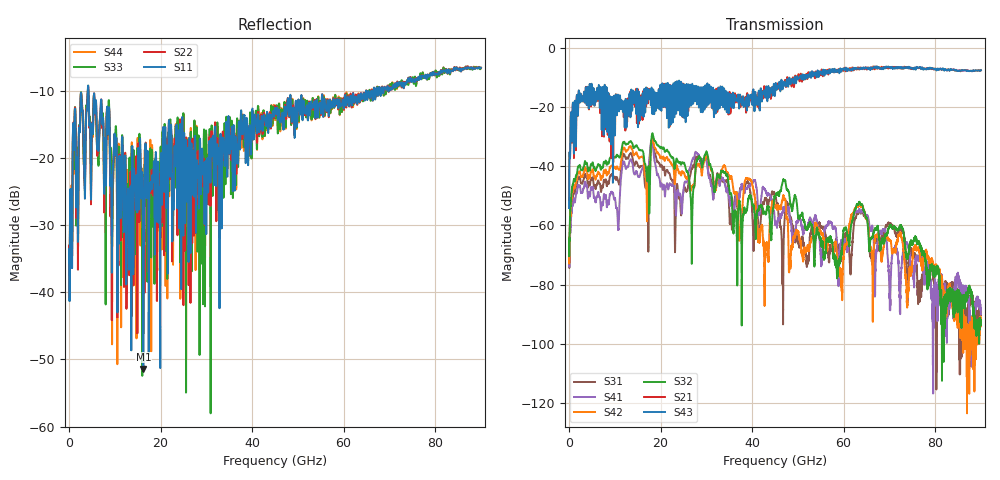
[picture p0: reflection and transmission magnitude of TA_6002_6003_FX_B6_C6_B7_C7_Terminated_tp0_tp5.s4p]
!Touchstone File created by Channel Assembly Engine (Version 2.0.0_Beta1)
!Current time:  2022 6/29 11:28:37
# Hz S RI R 50
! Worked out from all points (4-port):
!   9000 points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, 10 MHz to 90 GHz, reference 50 ohm
!   strongest paths, dB at 10 MHz, 22.51 GHz, 45.01 GHz, 67.51 GHz, 90 GHz:
!     S43: -54.1, -15.7, -15.8, -6.9, -7.5
!     S21: -51.4, -13.5, -13.3, -6.7, -7.6
!     S32: -66.2, -37.1, -50.6, -60.7, -92.2
!     S42: -66.4, -39.5, -53.8, -63.1, -94.0
!     S41: -68.1, -46.5, -59.2, -64.2, -90.0
!     S31: -65.2, -44.8, -50.5, -64.3, -90.3
!   lowest |S11| = -51.4 dB at 16.23 GHz (marker M1), VSWR 1.01, Z = 49.7 - j0.02 ohm
!   |S11| at or under -10 dB: start of sweep to 4.072 GHz; 4.262 GHz to 64.87 GHz (60.61 GHz wide, 175 % of centre); 65.46 GHz to 66.03 GHz (573.3 MHz wide, 0.872 % of centre) (the widest 3 of 10)
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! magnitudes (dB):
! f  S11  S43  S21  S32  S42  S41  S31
! 10 MHz  -34.0  -54.1  -51.4  -66.2  -66.4  -68.1  -65.2
! 2.45 GHz  -13.2  -15.8  -16.3  -40.2  -42.5  -47.5  -44.5
! 16.23 GHz  -51.4  -21.3  -14.6  -35.4  -37.4  -39.9  -40.1
! 39.44 GHz  -15.2  -16.8  -16.7  -50.0  -44.2  -46.5  -47.3
! 43.1 GHz  -15.0  -13.0  -13.5  -55.8  -66.5  -48.7  -51.3
! 63.72 GHz  -10.4  -7.1  -6.7  -53.0  -53.6  -55.5  -55.8
! 90 GHz  -6.5  -7.5  -7.6  -92.2  -94.0  -90.0  -90.3
